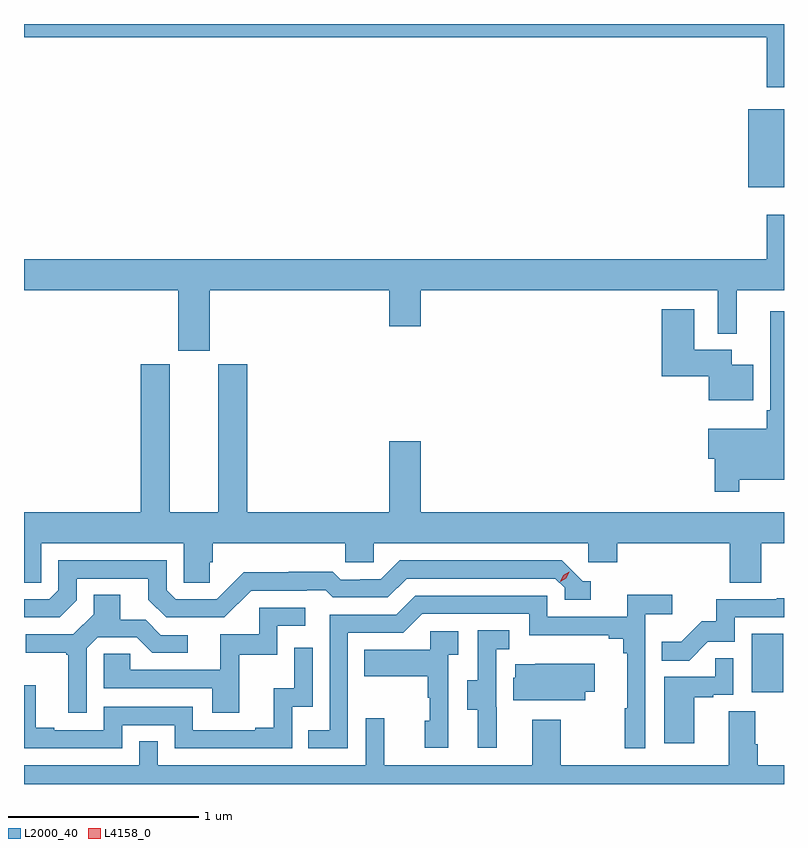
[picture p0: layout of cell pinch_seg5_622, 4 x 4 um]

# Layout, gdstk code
import gdstk
lib = gdstk.Library(unit=1e-6, precision=1e-09)
def R(c, l, rs):  # rectangles x0, y0, x1, y1
    for r in rs: c.add(gdstk.rectangle(r[:2], r[2:], *l))
def P(c, l, *ps):  # polygons
    for p in ps: c.add(gdstk.Polygon(p, *l))
L2000_40 = (2000, 40)
L4158_0 = (4158, 0)

pinch_seg5_622 = lib.new_cell('pinch_seg5_622')
R(pinch_seg5_622, L2000_40, [(1030.052,870.63,1030.216,870.937), (1030.034,873.287,1030.221,873.697)])
P(pinch_seg5_622, L2000_40, [(1030.221,874.146),(1026.221,874.146),(1026.221,874.076),(1030.129,874.076),(1030.129,873.813),(1030.221,873.813)],
  [(1027.198,872.744),(1028.144,872.744),(1028.144,872.556),(1028.308,872.556),(1028.308,872.744),(1029.873,872.744),(1029.873,872.516),(1029.971,872.516),(1029.971,872.744),(1030.221,872.744),(1030.221,873.142),(1030.129,873.142),(1030.129,872.908),(1026.221,872.908),(1026.221,872.744),(1027.034,872.744),(1027.034,872.427),(1027.198,872.427)],
  [(1030.06,872.353),(1029.946,872.353),(1029.946,872.431),(1029.748,872.431),(1029.748,872.644),(1029.578,872.644),(1029.578,872.291),(1029.824,872.291),(1029.824,872.165),(1030.06,872.165)],
  [(1029.985,871.748),(1030.221,871.748),(1030.221,872.635),(1030.149,872.635),(1030.149,872.113),(1030.129,872.113),(1030.129,872.017),(1029.822,872.017),(1029.822,871.859),(1029.856,871.859),(1029.856,871.683),(1029.985,871.683)],
  [(1026.988,872.355),(1026.836,872.355),(1026.836,871.576),(1026.221,871.576),(1026.221,871.204),(1026.312,871.204),(1026.312,871.412),(1027.062,871.412),(1027.062,871.204),(1027.199,871.204),(1027.199,871.314),(1027.214,871.314),(1027.214,871.412),(1027.911,871.412),(1027.911,871.314),(1028.061,871.314),(1028.061,871.412),(1029.192,871.412),(1029.192,871.314),(1029.344,871.314),(1029.344,871.412),(1029.935,871.412),(1029.935,871.204),(1030.1,871.204),(1030.1,871.412),(1030.221,871.412),(1030.221,871.576),(1028.308,871.576),(1028.308,871.951),(1028.144,871.951),(1028.144,871.576),(1027.397,871.576),(1027.397,872.355),(1027.244,872.355),(1027.244,871.576),(1026.988,871.576)],
  [(1026.498,871.113),(1026.498,871.227),(1026.875,871.227),(1026.875,871.117),(1026.969,871.023),(1027.275,871.023),(1027.416,871.164),(1027.709,871.164),(1027.709,871.167),(1027.808,871.167),(1027.847,871.128),(1028.136,871.128),(1028.235,871.227),(1029.018,871.227),(1029.066,871.179),(1029.066,871.116),(1029.205,871.116),(1029.205,871.212),(1029.162,871.212),(1029.051,871.323),(1028.198,871.323),(1028.099,871.224),(1027.992,871.224),(1027.992,871.221),(1027.889,871.221),(1027.847,871.264),(1027.614,871.264),(1027.614,871.261),(1027.378,871.261),(1027.236,871.119),(1027.02,871.119),(1026.972,871.167),(1026.972,871.323),(1026.402,871.323),(1026.402,871.167),(1026.354,871.119),(1026.221,871.119),(1026.221,871.023),(1026.408,871.023)],
  [(1026.552,870.861),(1026.609,870.918),(1026.815,870.918),(1026.896,870.837),(1027.084,870.837),(1027.084,870.93),(1026.942,870.93),(1026.862,871.01),(1026.727,871.01),(1026.727,871.142),(1026.587,871.142),(1026.587,871.04),(1026.48,870.933),(1026.231,870.933),(1026.231,870.836),(1026.444,870.836),(1026.444,870.825),(1026.455,870.825),(1026.455,870.522),(1026.552,870.522)],
  [(1027.926,870.942),(1028.217,870.942),(1028.316,871.041),(1028.88,871.041),(1028.88,870.929),(1029.299,870.929),(1029.299,870.91),(1029.376,870.91),(1029.376,870.833),(1029.395,870.833),(1029.395,870.545),(1029.384,870.545),(1029.384,870.333),(1029.492,870.333),(1029.492,871.04),(1029.634,871.04),(1029.634,871.142),(1029.395,871.142),(1029.395,871.026),(1028.976,871.026),(1028.976,871.137),(1028.279,871.137),(1028.18,871.038),(1027.83,871.038),(1027.83,870.429),(1027.717,870.429),(1027.717,870.333),(1027.926,870.333)],
  [(1029.819,870.894),(1029.963,870.894),(1029.963,871.023),(1030.221,871.023),(1030.221,871.124),(1030.183,871.124),(1030.183,871.119),(1029.865,871.119),(1029.865,871.002),(1029.788,871.002),(1029.681,870.895),(1029.577,870.895),(1029.577,870.796),(1029.721,870.796)],
  [(1027.355,870.825),(1027.554,870.825),(1027.554,870.978),(1027.702,870.978),(1027.702,871.074),(1027.458,871.074),(1027.458,870.933),(1027.253,870.933),(1027.253,870.747),(1026.779,870.747),(1026.779,870.831),(1026.642,870.831),(1026.642,870.651),(1027.211,870.651),(1027.211,870.522),(1027.355,870.522)],
  [(1028.708,870.549),(1028.706,870.549),(1028.706,870.855),(1028.776,870.855),(1028.776,870.956),(1028.61,870.956),(1028.61,870.693),(1028.555,870.693),(1028.555,870.538),(1028.609,870.538),(1028.609,870.336),(1028.708,870.336)],
  [(1028.454,870.827),(1028.506,870.827),(1028.506,870.951),(1028.358,870.951),(1028.358,870.853),(1028.011,870.853),(1028.011,870.713),(1028.346,870.713),(1028.346,870.599),(1028.356,870.599),(1028.356,870.48),(1028.33,870.48),(1028.33,870.336),(1028.454,870.336)],
  [(1026.738,870.456),(1027.014,870.456),(1027.014,870.333),(1027.632,870.333),(1027.632,870.552),(1027.74,870.552),(1027.74,870.862),(1027.644,870.862),(1027.644,870.65),(1027.535,870.65),(1027.535,870.442),(1027.439,870.442),(1027.439,870.429),(1027.11,870.429),(1027.11,870.552),(1026.642,870.552),(1026.642,870.429),(1026.379,870.429),(1026.379,870.442),(1026.283,870.442),(1026.283,870.667),(1026.221,870.667),(1026.221,870.333),(1026.738,870.333)],
  [(1029.748,870.603),(1029.848,870.603),(1029.848,870.615),(1029.954,870.615),(1029.954,870.809),(1029.859,870.809),(1029.859,870.711),(1029.59,870.711),(1029.59,870.36),(1029.748,870.36)],
  [(1029.175,870.631),(1029.226,870.631),(1029.226,870.778),(1028.911,870.778),(1028.911,870.777),(1028.807,870.777),(1028.807,870.705),(1028.795,870.705),(1028.795,870.587),(1029.175,870.587)],
  [(1030.221,870.244),(1030.082,870.244),(1030.082,870.356),(1030.069,870.356),(1030.069,870.53),(1029.929,870.53),(1029.929,870.244),(1029.045,870.244),(1029.045,870.484),(1028.897,870.484),(1028.897,870.244),(1028.117,870.244),(1028.117,870.493),(1028.019,870.493),(1028.019,870.244),(1026.924,870.244),(1026.924,870.371),(1026.828,870.371),(1026.828,870.244),(1026.221,870.244),(1026.221,870.146),(1030.221,870.146)])
P(pinch_seg5_622, L4158_0, [(1029.044,871.211),(1029.044,871.211),(1029.06,871.244),(1029.091,871.263),(1029.091,871.263),(1029.091,871.263),(1029.075,871.23),(1029.044,871.211)])

lib.write_gds('pinch_seg5_622.gds')
